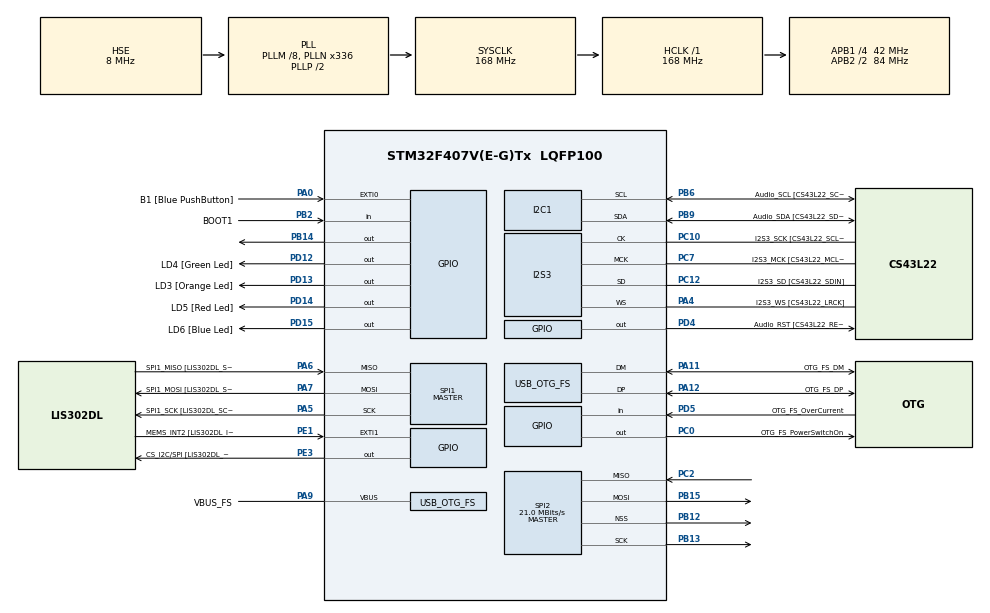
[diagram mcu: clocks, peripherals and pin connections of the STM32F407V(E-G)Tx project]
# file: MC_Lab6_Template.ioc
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Dma.Request0=SPI2_TX
Dma.SPI2_TX.0.Direction=DMA_MEMORY_TO_PERIPH
Dma.SPI2_TX.0.FIFOMode=DMA_FIFOMODE_ENABLE
Dma.SPI2_TX.0.FIFOThreshold=DMA_FIFO_THRESHOLD_FULL
Dma.SPI2_TX.0.Instance=DMA1_Stream4
Dma.SPI2_TX.0.MemBurst=DMA_MBURST_SINGLE
Dma.SPI2_TX.0.MemDataAlignment=DMA_MDATAALIGN_BYTE
Dma.SPI2_TX.0.MemInc=DMA_MINC_ENABLE
Dma.SPI2_TX.0.Mode=DMA_NORMAL
Dma.SPI2_TX.0.PeriphBurst=DMA_PBURST_SINGLE
Dma.SPI2_TX.0.PeriphDataAlignment=DMA_PDATAALIGN_BYTE
Dma.SPI2_TX.0.PeriphInc=DMA_PINC_DISABLE
Dma.SPI2_TX.0.Priority=DMA_PRIORITY_LOW
I2S3.AudioFreq-Half_Duplex_Master=I2S_AUDIOFREQ_96K
I2S3.ErrorAudioFreq=-2.34 %
I2S3.ErrorAudioFreq-Half_Duplex_Master=0.8 %
I2S3.FullDuplexMode=I2S_FULLDUPLEXMODE_DISABLE
I2S3.Instance=SPI$Index
I2S3.RealAudioFreq=93.75 KHz
I2S3.RealAudioFreq-Half_Duplex_Master=96.774 KHz
I2S3.VirtualMode=I2S_MODE_MASTER
Mcu.Family=STM32F4
Mcu.Name=STM32F407V(E-G)Tx
Mcu.Package=LQFP100
NVIC.DMA1_Stream4_IRQn=true\:0\:0\:false\:false\:true\:false\:true
NVIC.OTG_FS_IRQn=true\:0\:0\:false\:false\:true\:true\:true
NVIC.PriorityGroup=NVIC_PRIORITYGROUP_0
NVIC.SPI2_IRQn=true\:0\:0\:false\:false\:true\:true\:true
PA0-WKUP.GPIO_Label=B1 [Blue PushButton]
PA0-WKUP.GPIO_ModeDefaultEXTI=GPIO_MODE_EVT_RISING
PA0-WKUP.GPIO_PuPd=GPIO_NOPULL
PA0-WKUP.Signal=GPXTI0
PA10.GPIO_Label=OTG_FS_ID
PA10.GPIO_Mode=GPIO_MODE_AF_PP
PA10.GPIO_PuPd=GPIO_NOPULL
PA10.GPIO_Speed=GPIO_SPEED_FREQ_LOW
PA10.Signal=USB_OTG_FS_ID
PA11.GPIO_Label=OTG_FS_DM
PA11.GPIO_Mode=GPIO_MODE_AF_PP
PA11.GPIO_PuPd=GPIO_NOPULL
PA11.GPIO_Speed=GPIO_SPEED_FREQ_LOW
PA11.Mode=Host_Only
PA11.Signal=USB_OTG_FS_DM
PA12.GPIO_Label=OTG_FS_DP
PA12.GPIO_Mode=GPIO_MODE_AF_PP
PA12.GPIO_PuPd=GPIO_NOPULL
PA12.GPIO_Speed=GPIO_SPEED_FREQ_LOW
PA12.Mode=Host_Only
PA12.Signal=USB_OTG_FS_DP
PA13.GPIO_Label=SWDIO
PA13.Mode=Serial_Wire
PA13.Signal=SYS_JTMS-SWDIO
PA14.GPIO_Label=SWCLK
PA14.Mode=Serial_Wire
PA14.Signal=SYS_JTCK-SWCLK
PA4.GPIO_Label=I2S3_WS [CS43L22_LRCK]
PA4.GPIO_Mode=GPIO_MODE_AF_PP
PA4.GPIO_PuPd=GPIO_NOPULL
PA4.GPIO_Speed=GPIO_SPEED_FREQ_LOW
PA4.Mode=Half_Duplex_Master
PA4.Signal=I2S3_WS
PA5.GPIO_Label=SPI1_SCK [LIS302DL_SCL/SPC]
PA5.GPIO_Mode=GPIO_MODE_AF_PP
PA5.GPIO_PuPd=GPIO_NOPULL
PA5.GPIO_Speed=GPIO_SPEED_FREQ_LOW
PA5.Mode=Full_Duplex_Master
PA5.Signal=SPI1_SCK
PA6.GPIO_Label=SPI1_MISO [LIS302DL_SDO]
PA6.GPIO_Mode=GPIO_MODE_AF_PP
PA6.GPIO_PuPd=GPIO_NOPULL
PA6.GPIO_Speed=GPIO_SPEED_FREQ_LOW
PA6.Mode=Full_Duplex_Master
PA6.Signal=SPI1_MISO
PA7.GPIO_Label=SPI1_MOSI [LIS302DL_SDA/SDI/SDO]
PA7.GPIO_Mode=GPIO_MODE_AF_PP
PA7.GPIO_PuPd=GPIO_NOPULL
PA7.GPIO_Speed=GPIO_SPEED_FREQ_LOW
PA7.Mode=Full_Duplex_Master
PA7.Signal=SPI1_MOSI
PA9.GPIO_Label=VBUS_FS
PA9.GPIO_Mode=GPIO_MODE_INPUT
PA9.GPIO_PuPd=GPIO_NOPULL
PA9.Mode=Activate_VBUS
PA9.Signal=USB_OTG_FS_VBUS
PB10.GPIO_Label=CLK_IN [MP45DT02_CLK]
PB10.GPIO_Mode=GPIO_MODE_AF_PP
PB10.GPIO_PuPd=GPIO_NOPULL
PB10.GPIO_Speed=GPIO_SPEED_FREQ_LOW
PB10.Signal=I2S2_CK
PB12.Mode=NSS_Signal_Hard_Output
PB12.Signal=SPI2_NSS
PB13.Mode=Full_Duplex_Master
PB13.Signal=SPI2_SCK
PB14.Signal=GPIO_Output
PB15.Mode=Full_Duplex_Master
PB15.Signal=SPI2_MOSI
PB2.GPIO_Label=BOOT1
PB2.GPIO_Mode=GPIO_MODE_INPUT
PB2.GPIO_PuPd=GPIO_NOPULL
PB2.Signal=GPIO_Input
PB3.GPIO_Label=SWO
PB3.Signal=SYS_JTDO-SWO
PB6.GPIO_Label=Audio_SCL [CS43L22_SCL]
PB6.GPIO_Mode=GPIO_MODE_AF_OD
PB6.GPIO_PuPd=GPIO_NOPULL
PB6.GPIO_Speed=GPIO_SPEED_FREQ_LOW
PB6.Mode=I2C
PB6.Signal=I2C1_SCL
PB9.GPIO_Label=Audio_SDA [CS43L22_SDA]
PB9.GPIO_Mode=GPIO_MODE_AF_OD
PB9.GPIO_PuPd=GPIO_NOPULL
PB9.GPIO_Speed=GPIO_SPEED_FREQ_LOW
PB9.Mode=I2C
PB9.Signal=I2C1_SDA
PC0.GPIO_Label=OTG_FS_PowerSwitchOn
PC0.GPIO_PuPd=GPIO_NOPULL
PC0.GPIO_Speed=GPIO_SPEED_FREQ_LOW
PC0.PinState=GPIO_PIN_SET
PC0.Signal=GPIO_Output
PC10.GPIO_Label=I2S3_SCK [CS43L22_SCLK]
PC10.GPIO_Mode=GPIO_MODE_AF_PP
PC10.GPIO_PuPd=GPIO_NOPULL
PC10.GPIO_Speed=GPIO_SPEED_FREQ_LOW
PC10.Mode=Half_Duplex_Master
PC10.Signal=I2S3_CK
PC12.GPIO_Label=I2S3_SD [CS43L22_SDIN]
PC12.GPIO_Mode=GPIO_MODE_AF_PP
PC12.GPIO_PuPd=GPIO_NOPULL
PC12.GPIO_Speed=GPIO_SPEED_FREQ_LOW
PC12.Mode=Half_Duplex_Master
PC12.Signal=I2S3_SD
PC14-OSC32_IN.GPIO_Label=PC14-OSC32_IN
PC14-OSC32_IN.Mode=LSE-External-Oscillator
PC14-OSC32_IN.Signal=RCC_OSC32_IN
PC15-OSC32_OUT.GPIO_Label=PC15-OSC32_OUT
PC15-OSC32_OUT.Mode=LSE-External-Oscillator
PC15-OSC32_OUT.Signal=RCC_OSC32_OUT
PC2.Mode=Full_Duplex_Master
PC2.Signal=SPI2_MISO
PC3.GPIO_Label=PDM_OUT [MP45DT02_DOUT]
PC3.GPIO_Mode=GPIO_MODE_AF_PP
PC3.GPIO_PuPd=GPIO_NOPULL
PC3.GPIO_Speed=GPIO_SPEED_FREQ_LOW
PC3.Signal=I2S2_SD
PC7.GPIO_Label=I2S3_MCK [CS43L22_MCLK]
PC7.GPIO_Mode=GPIO_MODE_AF_PP
PC7.GPIO_PuPd=GPIO_NOPULL
PC7.GPIO_Speed=GPIO_SPEED_FREQ_LOW
PC7.Mode=Master_Clock_Activated
PC7.Signal=I2S3_MCK
PD12.GPIO_Label=LD4 [Green Led]
PD12.GPIO_PuPd=GPIO_NOPULL
PD12.GPIO_Speed=GPIO_SPEED_FREQ_LOW
PD12.Signal=GPIO_Output
PD13.GPIO_Label=LD3 [Orange Led]
PD13.GPIO_PuPd=GPIO_NOPULL
PD13.GPIO_Speed=GPIO_SPEED_FREQ_LOW
PD13.Signal=GPIO_Output
PD14.GPIO_Label=LD5 [Red Led]
PD14.GPIO_PuPd=GPIO_NOPULL
PD14.GPIO_Speed=GPIO_SPEED_FREQ_LOW
PD14.Signal=GPIO_Output
PD15.GPIO_Label=LD6 [Blue Led]
PD15.GPIO_PuPd=GPIO_NOPULL
PD15.GPIO_Speed=GPIO_SPEED_FREQ_LOW
PD15.Signal=GPIO_Output
PD4.GPIO_Label=Audio_RST [CS43L22_RESET]
PD4.GPIO_PuPd=GPIO_NOPULL
PD4.GPIO_Speed=GPIO_SPEED_FREQ_LOW
PD4.Signal=GPIO_Output
PD5.GPIO_Label=OTG_FS_OverCurrent
PD5.GPIO_Mode=GPIO_MODE_INPUT
PD5.GPIO_PuPd=GPIO_NOPULL
PD5.Signal=GPIO_Input
PE1.GPIO_Label=MEMS_INT2 [LIS302DL_INT2]
PE1.GPIO_ModeDefaultEXTI=GPIO_MODE_EVT_RISING
PE1.GPIO_PuPd=GPIO_NOPULL
PE1.Signal=GPXTI1
PE3.GPIO_Label=CS_I2C/SPI [LIS302DL_CS_I2C/SPI]
PE3.GPIO_PuPd=GPIO_NOPULL
PE3.GPIO_Speed=GPIO_SPEED_FREQ_LOW
PE3.Signal=GPIO_Output
PH0-OSC_IN.GPIO_Label=PH0-OSC_IN
PH0-OSC_IN.Mode=HSE-External-Oscillator
PH0-OSC_IN.Signal=RCC_OSC_IN
PH1-OSC_OUT.GPIO_Label=PH1-OSC_OUT
PH1-OSC_OUT.Mode=HSE-External-Oscillator
PH1-OSC_OUT.Signal=RCC_OSC_OUT
ProjectManager.HeapSize=0x200
ProjectManager.StackSize=0x400
ProjectManager.TargetToolchain=STM32CubeIDE
RCC.48MHZClocksFreq_Value=48000000
RCC.AHBFreq_Value=168000000
RCC.APB1CLKDivider=RCC_HCLK_DIV4
RCC.APB1Freq_Value=42000000
RCC.APB1TimFreq_Value=84000000
RCC.APB2CLKDivider=RCC_HCLK_DIV2
RCC.APB2Freq_Value=84000000
RCC.APB2TimFreq_Value=168000000
RCC.CortexFreq_Value=168000000
RCC.HCLKFreq_Value=168000000
RCC.HSE_VALUE=8000000
RCC.HSI_VALUE=16000000
RCC.PLLM=8
RCC.PLLN=336
RCC.PLLQ=7
RCC.SYSCLKFreq_VALUE=168000000
RCC.SYSCLKSource=RCC_SYSCLKSOURCE_PLLCLK
RCC.VCOOutputFreq_Value=336000000
SPI1.BaudRatePrescaler-Full_Duplex_Master=SPI_BAUDRATEPRESCALER_2
SPI1.CalculateBaudRate-Full_Duplex_Master=42.0 MBits/s
SPI1.Direction=SPI_DIRECTION_2LINES
SPI1.Mode=SPI_MODE_MASTER
SPI1.Mode-Full_Duplex_Master=SPI_MODE_MASTER
SPI1.VirtualType=VM_MASTER
SPI2.CalculateBaudRate=21.0 MBits/s
SPI2.Direction=SPI_DIRECTION_2LINES
SPI2.Mode=SPI_MODE_MASTER
SPI2.VirtualNSS=VM_NSSHARD
SPI2.VirtualType=VM_MASTER
USB_HOST.BSP.number=1
USB_HOST.USBH_HandleTypeDef-CDC_FS=hUsbHostFS
USB_HOST.VirtualModeFS=Cdc
USB_HOST0.BSP.STBoard=false
USB_HOST0.BSP.api=Unknown
USB_HOST0.BSP.i2caddr=0
USB_HOST0.BSP.i2creg=0
USB_HOST0.BSP.instance=PC0
USB_HOST0.BSP.ip=GPIO
USB_HOST0.BSP.mode=Output
USB_HOST0.BSP.name=Drive_VBUS_FS
USB_HOST0.BSP.solution=PC0
USB_OTG_FS.VirtualMode=Host_Only
USB_OTG_FS.phy_itface=HCD_PHY_EMBEDDED
VP_USB_HOST_VS_USB_HOST_CDC_FS.Mode=CDC_FS
board=STM32F407G-DISC1

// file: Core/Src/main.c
/* USER CODE BEGIN Header */
/**
  ******************************************************************************
  * @file           : main.c
  * @brief          : Main program body
  ******************************************************************************
  * @attention
  *
  * <h2><center>&copy; Copyright (c) 2020 STMicroelectronics.
  * All rights reserved.</center></h2>
  *
  * This software component is licensed by ST under Ultimate Liberty license
  * SLA0044, the "License"; You may not use this file except in compliance with
  * the License. You may obtain a copy of the License at:
  *                             www.st.com/SLA0044
  *
  ******************************************************************************
  */
/* USER CODE END Header */

#include "main.h"
#include "usb_host.h"

I2C_HandleTypeDef hi2c1;

I2S_HandleTypeDef hi2s3;

SPI_HandleTypeDef hspi1;
SPI_HandleTypeDef hspi2;
DMA_HandleTypeDef hdma_spi2_tx;

void SystemClock_Config(void);
static void MX_GPIO_Init(void);
static void MX_DMA_Init(void);
static void MX_I2C1_Init(void);
static void MX_I2S3_Init(void);
static void MX_SPI1_Init(void);
static void MX_SPI2_Init(void);
void MX_USB_HOST_Process(void);

/* USER CODE BEGIN PFP */
uint8_t arr[32768];
int x = 0, y = 0;
short size = 8;
/* USER CODE END PFP */

/* USER CODE BEGIN 0 */
void writecommand(uint8_t command) {
    //cs = 0;
    //ao = 0;
    HAL_GPIO_WritePin(GPIOB, GPIO_PIN_14, GPIO_PIN_RESET);
    //HAL_SPI_Transmit(&hspi2, &command, );
    HAL_SPI_Transmit(&hspi2, &command, 1, 100);
    //cs = 1;
}

void writedata(uint8_t data) {
    //cs = 0;
    //ao = 1;
	HAL_GPIO_WritePin(GPIOB, GPIO_PIN_14, GPIO_PIN_SET);
	HAL_SPI_Transmit(&hspi2, &data, 1, 100);
    //cs = 1;
}

void init(void)
{
  writecommand(0x01);
  HAL_Delay(20);
  writecommand(0x11);
  HAL_Delay(20);

  writecommand(0x3a);
  writedata(0x05);

  writecommand(0x26);
  writedata(0x04);

  writecommand(0xf2);
  writedata(0x01);

  writecommand(0xE0);
  writedata(0x3f);
  writedata(0x25);
  writedata(0x1c);
  writedata(0x1e);
  writedata(0x20);
  writedata(0x12);
  writedata(0x2a);
  writedata(0x90);
  writedata(0x24);
  writedata(0x11);
  writedata(0x00);
  writedata(0x00);
  writedata(0x00);
  writedata(0x00);
  writedata(0x00);

  writecommand(0xE1);
  writedata(0x20);
  writedata(0x20);
  writedata(0x20);
  writedata(0x20);
  writedata(0x05);
  writedata(0x00);
  writedata(0x15);
  writedata(0xa7);
  writedata(0x3d);
  writedata(0x18);
  writedata(0x25);
  writedata(0x2a);
  writedata(0x2b);
  writedata(0x2b);
  writedata(0x3a);

  writecommand(0xb1);
  writedata(0x08);
  writedata(0x08);

  writecommand(0xb4);
  writedata(0x07);

  writecommand(0xc0);
  writedata(0x0a);
  writedata(0x02);

  writecommand(0xc1);
  writedata(0x02);

  writecommand(0xc5);
  writedata(0x50);
  writedata(0x5b);

  writecommand(0xc7);
  writedata(0x40);

  writecommand(0x2a);
  writedata(0x00);
  writedata(0x00);
  writedata(0x00);
  writedata(0x7f);

  writecommand(0x2a);
  writedata(0x00);
  writedata(0x00);
  writedata(0x00);
  writedata(0x9f);
  writedata(250);

  writecommand(0x36);
  writedata(0xc8);

  writecommand(0x29);
}

void setAddress(uint8_t x1, uint8_t y1, uint8_t x2, uint8_t y2) {
    writecommand(0x2a);
    writedata(0x00);
    writedata(x1);
    writedata(0x00);
    writedata(x2);
    writecommand(0x2b);
    writedata(0x00);
    writedata(y1);
    writedata(0x00);
    writedata(y2);
    writecommand(0x2c);
}

void writeColorData(uint8_t * arr, int length) {
    //cs = 0;
    //ao = 1;
	HAL_GPIO_WritePin(GPIOB, GPIO_PIN_14, GPIO_PIN_SET);
    //spi_dev.write((char*)arr, length, NULL, length);
    HAL_SPI_Transmit(&hspi2, arr, length, 100);
    //cs = 1;
}

void fillColor(uint8_t * arr, int length) {
	setAddress(0, 0, 127, 127);
	writeColorData(arr, length);
}

void draw(uint8_t x1, uint8_t y1, uint8_t x2, uint8_t y2, uint16_t color) {
	setAddress(x1, y1, x2, y2);
	int length = (x2 - x1 + 1) * (y2 - y1 + 1) * 2;
	for (int i = 0; i < length; ++i) {
		if (i % 2 == 0) {
			arr[i] = (color >> 8);
		} else {
			arr[i] = (color & 0xff);
		}
	}
	writeColorData(arr, length);
}

void drawSnake() {
  for (int i = 0; i < 3; i++) {
    draw(x + size, y + size, x + size * 2, y + size * 2, 0xffff);
    x += size; y += size;
  }
  //x -= size; y -= size;
}

void clearTail() {
  x -= size * 2;
  y -= size * 2;
  draw(x, y, x * 2, y * 2, 0x0000);
}

void diagonalMove() {
  for (int j = 0; j < 7; j++) {
    drawSnake();
    HAL_Delay(500);
    clearTail();
    HAL_Delay(500);
    //x += size; y += size;
  }
}
/* USER CODE END 0 */

int main(void)
{

  /* MCU Configuration--------------------------------------------------------*/

  /* Reset of all peripherals, Initializes the Flash interface and the Systick. */
  HAL_Init();

  /* Configure the system clock */
  SystemClock_Config();

  /* Initialize all configured peripherals */
  MX_GPIO_Init();
  MX_DMA_Init();
  MX_I2C1_Init();
  MX_I2S3_Init();
  MX_SPI1_Init();
  MX_USB_HOST_Init();
  MX_SPI2_Init();
  /* USER CODE BEGIN 2 */
  init();

  /* USER CODE END 2 */

  /* Infinite loop */
  while (1)
  {
    //MX_USB_HOST_Process();

  }
}

void SystemClock_Config(void)
{
  RCC_OscInitTypeDef RCC_OscInitStruct = {0};
  RCC_ClkInitTypeDef RCC_ClkInitStruct = {0};
  RCC_PeriphCLKInitTypeDef PeriphClkInitStruct = {0};

  /** Configure the main internal regulator output voltage
  */
  __HAL_RCC_PWR_CLK_ENABLE();
  __HAL_PWR_VOLTAGESCALING_CONFIG(PWR_REGULATOR_VOLTAGE_SCALE1);
  /** Initializes the CPU, AHB and APB busses clocks
  */
  RCC_OscInitStruct.OscillatorType = RCC_OSCILLATORTYPE_HSE;
  RCC_OscInitStruct.HSEState = RCC_HSE_ON;
  RCC_OscInitStruct.PLL.PLLState = RCC_PLL_ON;
  RCC_OscInitStruct.PLL.PLLSource = RCC_PLLSOURCE_HSE;
  RCC_OscInitStruct.PLL.PLLM = 8;
  RCC_OscInitStruct.PLL.PLLN = 336;
  RCC_OscInitStruct.PLL.PLLP = RCC_PLLP_DIV2;
  RCC_OscInitStruct.PLL.PLLQ = 7;
  if (HAL_RCC_OscConfig(&RCC_OscInitStruct) != HAL_OK)
  {
    Error_Handler();
  }
  /** Initializes the CPU, AHB and APB busses clocks
  */
  RCC_ClkInitStruct.ClockType = RCC_CLOCKTYPE_HCLK|RCC_CLOCKTYPE_SYSCLK
                              |RCC_CLOCKTYPE_PCLK1|RCC_CLOCKTYPE_PCLK2;
  RCC_ClkInitStruct.SYSCLKSource = RCC_SYSCLKSOURCE_PLLCLK;
  RCC_ClkInitStruct.AHBCLKDivider = RCC_SYSCLK_DIV1;
  RCC_ClkInitStruct.APB1CLKDivider = RCC_HCLK_DIV4;
  RCC_ClkInitStruct.APB2CLKDivider = RCC_HCLK_DIV2;

  if (HAL_RCC_ClockConfig(&RCC_ClkInitStruct, FLASH_LATENCY_5) != HAL_OK)
  {
    Error_Handler();
  }
  PeriphClkInitStruct.PeriphClockSelection = RCC_PERIPHCLK_I2S;
  PeriphClkInitStruct.PLLI2S.PLLI2SN = 192;
  PeriphClkInitStruct.PLLI2S.PLLI2SR = 2;
  if (HAL_RCCEx_PeriphCLKConfig(&PeriphClkInitStruct) != HAL_OK)
  {
    Error_Handler();
  }
}

static void MX_I2C1_Init(void)
{

  hi2c1.Instance = I2C1;
  hi2c1.Init.ClockSpeed = 100000;
  hi2c1.Init.DutyCycle = I2C_DUTYCYCLE_2;
  hi2c1.Init.OwnAddress1 = 0;
  hi2c1.Init.AddressingMode = I2C_ADDRESSINGMODE_7BIT;
  hi2c1.Init.DualAddressMode = I2C_DUALADDRESS_DISABLE;
  hi2c1.Init.OwnAddress2 = 0;
  hi2c1.Init.GeneralCallMode = I2C_GENERALCALL_DISABLE;
  hi2c1.Init.NoStretchMode = I2C_NOSTRETCH_DISABLE;
  if (HAL_I2C_Init(&hi2c1) != HAL_OK)
  {
    Error_Handler();
  }

}

static void MX_I2S3_Init(void)
{

  hi2s3.Instance = SPI3;
  hi2s3.Init.Mode = I2S_MODE_MASTER_TX;
  hi2s3.Init.Standard = I2S_STANDARD_PHILIPS;
  hi2s3.Init.DataFormat = I2S_DATAFORMAT_16B;
  hi2s3.Init.MCLKOutput = I2S_MCLKOUTPUT_ENABLE;
  hi2s3.Init.AudioFreq = I2S_AUDIOFREQ_96K;
  hi2s3.Init.CPOL = I2S_CPOL_LOW;
  hi2s3.Init.ClockSource = I2S_CLOCK_PLL;
  hi2s3.Init.FullDuplexMode = I2S_FULLDUPLEXMODE_DISABLE;
  if (HAL_I2S_Init(&hi2s3) != HAL_OK)
  {
    Error_Handler();
  }

}

static void MX_SPI1_Init(void)
{

  /* SPI1 parameter configuration*/
  hspi1.Instance = SPI1;
  hspi1.Init.Mode = SPI_MODE_MASTER;
  hspi1.Init.Direction = SPI_DIRECTION_2LINES;
  hspi1.Init.DataSize = SPI_DATASIZE_8BIT;
  hspi1.Init.CLKPolarity = SPI_POLARITY_LOW;
  hspi1.Init.CLKPhase = SPI_PHASE_1EDGE;
  hspi1.Init.NSS = SPI_NSS_SOFT;
  hspi1.Init.BaudRatePrescaler = SPI_BAUDRATEPRESCALER_2;
  hspi1.Init.FirstBit = SPI_FIRSTBIT_MSB;
  hspi1.Init.TIMode = SPI_TIMODE_DISABLE;
  hspi1.Init.CRCCalculation = SPI_CRCCALCULATION_DISABLE;
  hspi1.Init.CRCPolynomial = 10;
  if (HAL_SPI_Init(&hspi1) != HAL_OK)
  {
    Error_Handler();
  }

}

static void MX_SPI2_Init(void)
{

  /* SPI2 parameter configuration*/
  hspi2.Instance = SPI2;
  hspi2.Init.Mode = SPI_MODE_MASTER;
  hspi2.Init.Direction = SPI_DIRECTION_2LINES;
  hspi2.Init.DataSize = SPI_DATASIZE_8BIT;
  hspi2.Init.CLKPolarity = SPI_POLARITY_LOW;
  hspi2.Init.CLKPhase = SPI_PHASE_1EDGE;
  hspi2.Init.NSS = SPI_NSS_HARD_OUTPUT;
  hspi2.Init.BaudRatePrescaler = SPI_BAUDRATEPRESCALER_2;
  hspi2.Init.FirstBit = SPI_FIRSTBIT_MSB;
  hspi2.Init.TIMode = SPI_TIMODE_DISABLE;
  hspi2.Init.CRCCalculation = SPI_CRCCALCULATION_DISABLE;
  hspi2.Init.CRCPolynomial = 10;
  if (HAL_SPI_Init(&hspi2) != HAL_OK)
  {
    Error_Handler();
  }

}

static void MX_DMA_Init(void)
{

  /* DMA controller clock enable */
  __HAL_RCC_DMA1_CLK_ENABLE();

  /* DMA interrupt init */
  /* DMA1_Stream4_IRQn interrupt configuration */
  HAL_NVIC_SetPriority(DMA1_Stream4_IRQn, 0, 0);
  HAL_NVIC_EnableIRQ(DMA1_Stream4_IRQn);

}

static void MX_GPIO_Init(void)
{
  GPIO_InitTypeDef GPIO_InitStruct = {0};

  /* GPIO Ports Clock Enable */
  __HAL_RCC_GPIOE_CLK_ENABLE();
  __HAL_RCC_GPIOC_CLK_ENABLE();
  __HAL_RCC_GPIOH_CLK_ENABLE();
  __HAL_RCC_GPIOA_CLK_ENABLE();
  __HAL_RCC_GPIOB_CLK_ENABLE();
  __HAL_RCC_GPIOD_CLK_ENABLE();

  /*Configure GPIO pin Output Level */
  HAL_GPIO_WritePin(CS_I2C_SPI_GPIO_Port, CS_I2C_SPI_Pin, GPIO_PIN_RESET);

  /*Configure GPIO pin Output Level */
  HAL_GPIO_WritePin(OTG_FS_PowerSwitchOn_GPIO_Port, OTG_FS_PowerSwitchOn_Pin, GPIO_PIN_SET);

  /*Configure GPIO pin Output Level */
  HAL_GPIO_WritePin(GPIOB, GPIO_PIN_14, GPIO_PIN_RESET);

  /*Configure GPIO pin Output Level */
  HAL_GPIO_WritePin(GPIOD, LD4_Pin|LD3_Pin|LD5_Pin|LD6_Pin
                          |Audio_RST_Pin, GPIO_PIN_RESET);

  /*Configure GPIO pin : CS_I2C_SPI_Pin */
  GPIO_InitStruct.Pin = CS_I2C_SPI_Pin;
  GPIO_InitStruct.Mode = GPIO_MODE_OUTPUT_PP;
  GPIO_InitStruct.Pull = GPIO_NOPULL;
  GPIO_InitStruct.Speed = GPIO_SPEED_FREQ_LOW;
  HAL_GPIO_Init(CS_I2C_SPI_GPIO_Port, &GPIO_InitStruct);

  /*Configure GPIO pin : OTG_FS_PowerSwitchOn_Pin */
  GPIO_InitStruct.Pin = OTG_FS_PowerSwitchOn_Pin;
  GPIO_InitStruct.Mode = GPIO_MODE_OUTPUT_PP;
  GPIO_InitStruct.Pull = GPIO_NOPULL;
  GPIO_InitStruct.Speed = GPIO_SPEED_FREQ_LOW;
  HAL_GPIO_Init(OTG_FS_PowerSwitchOn_GPIO_Port, &GPIO_InitStruct);

  /*Configure GPIO pin : PDM_OUT_Pin */
  GPIO_InitStruct.Pin = PDM_OUT_Pin;
  GPIO_InitStruct.Mode = GPIO_MODE_AF_PP;
  GPIO_InitStruct.Pull = GPIO_NOPULL;
  GPIO_InitStruct.Speed = GPIO_SPEED_FREQ_LOW;
  GPIO_InitStruct.Alternate = GPIO_AF5_SPI2;
  HAL_GPIO_Init(PDM_OUT_GPIO_Port, &GPIO_InitStruct);

  /*Configure GPIO pin : B1_Pin */
  GPIO_InitStruct.Pin = B1_Pin;
  GPIO_InitStruct.Mode = GPIO_MODE_EVT_RISING;
  GPIO_InitStruct.Pull = GPIO_NOPULL;
  HAL_GPIO_Init(B1_GPIO_Port, &GPIO_InitStruct);

  /*Configure GPIO pin : BOOT1_Pin */
  GPIO_InitStruct.Pin = BOOT1_Pin;
  GPIO_InitStruct.Mode = GPIO_MODE_INPUT;
  GPIO_InitStruct.Pull = GPIO_NOPULL;
  HAL_GPIO_Init(BOOT1_GPIO_Port, &GPIO_InitStruct);

  /*Configure GPIO pin : CLK_IN_Pin */
  GPIO_InitStruct.Pin = CLK_IN_Pin;
  GPIO_InitStruct.Mode = GPIO_MODE_AF_PP;
  GPIO_InitStruct.Pull = GPIO_NOPULL;
  GPIO_InitStruct.Speed = GPIO_SPEED_FREQ_LOW;
  GPIO_InitStruct.Alternate = GPIO_AF5_SPI2;
  HAL_GPIO_Init(CLK_IN_GPIO_Port, &GPIO_InitStruct);

  /*Configure GPIO pin : PB14 */
  GPIO_InitStruct.Pin = GPIO_PIN_14;
  GPIO_InitStruct.Mode = GPIO_MODE_OUTPUT_PP;
  GPIO_InitStruct.Pull = GPIO_NOPULL;
  GPIO_InitStruct.Speed = GPIO_SPEED_FREQ_LOW;
  HAL_GPIO_Init(GPIOB, &GPIO_InitStruct);

  /*Configure GPIO pins : LD4_Pin LD3_Pin LD5_Pin LD6_Pin
                           Audio_RST_Pin */
  GPIO_InitStruct.Pin = LD4_Pin|LD3_Pin|LD5_Pin|LD6_Pin
                          |Audio_RST_Pin;
  GPIO_InitStruct.Mode = GPIO_MODE_OUTPUT_PP;
  GPIO_InitStruct.Pull = GPIO_NOPULL;
  GPIO_InitStruct.Speed = GPIO_SPEED_FREQ_LOW;
  HAL_GPIO_Init(GPIOD, &GPIO_InitStruct);

  /*Configure GPIO pin : OTG_FS_OverCurrent_Pin */
  GPIO_InitStruct.Pin = OTG_FS_OverCurrent_Pin;
  GPIO_InitStruct.Mode = GPIO_MODE_INPUT;
  GPIO_InitStruct.Pull = GPIO_NOPULL;
  HAL_GPIO_Init(OTG_FS_OverCurrent_GPIO_Port, &GPIO_InitStruct);

  /*Configure GPIO pin : MEMS_INT2_Pin */
  GPIO_InitStruct.Pin = MEMS_INT2_Pin;
  GPIO_InitStruct.Mode = GPIO_MODE_EVT_RISING;
  GPIO_InitStruct.Pull = GPIO_NOPULL;
  HAL_GPIO_Init(MEMS_INT2_GPIO_Port, &GPIO_InitStruct);

}

void Error_Handler(void)
{
}

/************************ (C) COPYRIGHT STMicroelectronics *****END OF FILE****/
